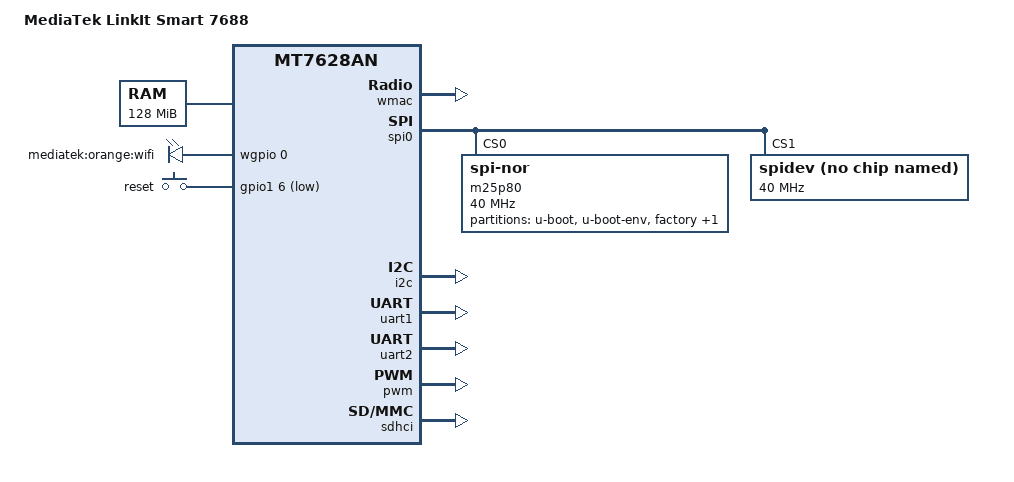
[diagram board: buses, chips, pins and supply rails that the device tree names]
/dts-v1/;

#include "mt7628an.dtsi"

/ {
	compatible = "mediatek,linkit", "mediatek,mt7628an-soc";
	model = "MediaTek LinkIt Smart 7688";

	chosen {
		bootargs = "console=ttyS2,57600";
	};

	aliases {
		serial0 = &uart2;
	};

	memory@0 {
		device_type = "memory";
		reg = <0x0 0x8000000>;
	};

	bootstrap {
		compatible = "mediatek,linkit";

		status = "okay";
	};

	gpio-leds {
		compatible = "gpio-leds";

		wifi {
			label = "mediatek:orange:wifi";
			gpios = <&wgpio 0 0>;
			default-state = "on";
		};
	};

	gpio-keys-polled {
		compatible = "gpio-keys-polled";
		#address-cells = <1>;
		#size-cells = <0>;
		poll-interval = <20>;

		wps {
			label = "reset";
			gpios = <&gpio1 6 1>;
			linux,code = <0x211>;
		};
	};

	wgpio: gpio-wifi {
		compatible = "mediatek,gpio-wifi";
		#address-cells = <1>;
		#size-cells = <0>;
		gpio-controller;
		#gpio-cells = <2>;
	};
};

&pinctrl {
	state_default: pinctrl0 {
		gpio {
			ralink,group = "gpio";
			ralink,function = "gpio";
		};

		perst {
			ralink,group = "perst";
			ralink,function = "gpio";
		};

		refclk {
			ralink,group = "refclk";
			ralink,function = "gpio";
		};

		i2s {
			ralink,group = "i2s";
			ralink,function = "gpio";
		};

		spis {
			ralink,group = "spis";
			ralink,function = "gpio";
		};

		wled_kn {
			ralink,group = "wled_kn";
			ralink,function = "gpio";
		};

		wled_an {
			ralink,group = "wled_an";
			ralink,function = "wled_an";
		};

		wdt {
			ralink,group = "wdt";
			ralink,function = "gpio";
		};
	};
};

&wmac {
	status = "okay";
};

&spi0 {
	status = "okay";

	pinctrl-names = "default";
	pinctrl-0 = <&spi_pins>, <&spi_cs1_pins>;

	m25p80@0 {
		#address-cells = <1>;
		#size-cells = <1>;
		compatible = "jedec,spi-nor";
		reg = <0>;
		linux,modalias = "m25p80", "mx25l25635e";
		spi-max-frequency = <40000000>;
		m25p,chunked-io = <31>;

		partition@0 {
			label = "u-boot";
			reg = <0x0 0x30000>;
			read-only;
		};

		partition@30000 {
			label = "u-boot-env";
			reg = <0x30000 0x10000>;
		};

		factory: partition@40000 {
			label = "factory";
			reg = <0x40000 0x10000>;
			read-only;
		};

		partition@50000 {
			label = "firmware";
			reg = <0x50000 0x1fb0000>;
		};
	};

	spidev@1 {
		#address-cells = <1>;
		#size-cells = <1>;
		compatible = "linux,spidev";
		reg = <1>;
		spi-max-frequency = <40000000>;
	};
};

&i2c {
	status = "okay";
};

&uart1 {
	status = "okay";
};

&uart2 {
	status = "okay";
};

&pwm {
	status = "okay";
};

&ethernet {
	mtd-mac-address = <&factory 0x28>;
};

&sdhci {
	status = "okay";
	mediatek,cd-high;
};

&wmac {
	status = "okay";
};
